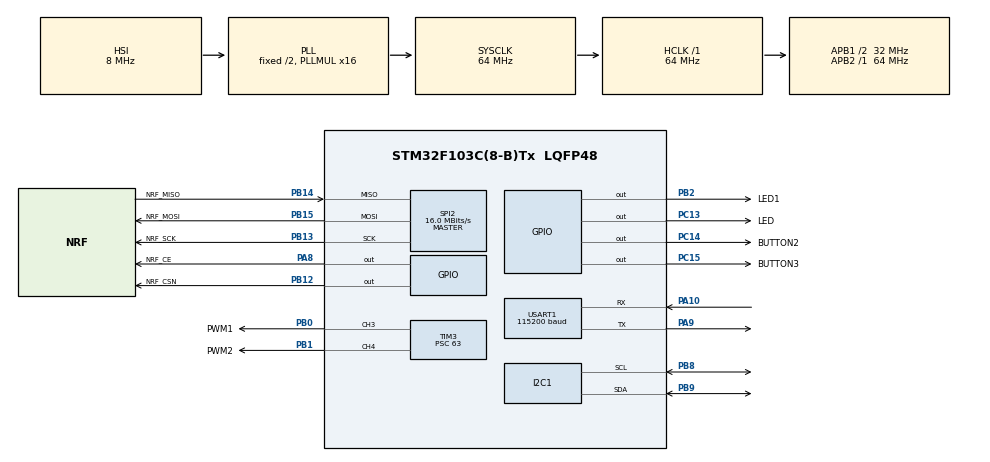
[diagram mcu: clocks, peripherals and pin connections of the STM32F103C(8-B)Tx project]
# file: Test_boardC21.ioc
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Dma.Request0=USART1_RX
Dma.USART1_RX.0.Direction=DMA_PERIPH_TO_MEMORY
Dma.USART1_RX.0.Instance=DMA1_Channel5
Dma.USART1_RX.0.MemDataAlignment=DMA_MDATAALIGN_BYTE
Dma.USART1_RX.0.MemInc=DMA_MINC_ENABLE
Dma.USART1_RX.0.Mode=DMA_NORMAL
Dma.USART1_RX.0.PeriphDataAlignment=DMA_PDATAALIGN_BYTE
Dma.USART1_RX.0.PeriphInc=DMA_PINC_DISABLE
Dma.USART1_RX.0.Priority=DMA_PRIORITY_LOW
Mcu.Family=STM32F1
Mcu.Name=STM32F103C(8-B)Tx
Mcu.Package=LQFP48
NVIC.DMA1_Channel5_IRQn=true\:0\:0\:false\:false\:true\:false\:true\:true
NVIC.PriorityGroup=NVIC_PRIORITYGROUP_4
NVIC.TIM4_IRQn=true\:2\:0\:true\:false\:true\:true\:true\:true
NVIC.USART1_IRQn=true\:1\:0\:true\:false\:true\:true\:true\:true
PA10.Mode=Asynchronous
PA10.Signal=USART1_RX
PA13.Mode=Serial_Wire
PA13.Signal=SYS_JTMS-SWDIO
PA14.Mode=Serial_Wire
PA14.Signal=SYS_JTCK-SWCLK
PA8.GPIO_Label=NRF_CE
PA8.Signal=GPIO_Output
PA9.Mode=Asynchronous
PA9.Signal=USART1_TX
PB0.GPIO_Label=PWM1
PB0.Signal=S_TIM3_CH3
PB1.GPIO_Label=PWM2
PB1.Signal=S_TIM3_CH4
PB12.GPIO_Label=NRF_CSN
PB12.Signal=GPIO_Output
PB13.GPIO_Label=NRF_SCK
PB13.Mode=Full_Duplex_Master
PB13.Signal=SPI2_SCK
PB14.GPIO_Label=NRF_MISO
PB14.Mode=Full_Duplex_Master
PB14.Signal=SPI2_MISO
PB15.GPIO_Label=NRF_MOSI
PB15.Mode=Full_Duplex_Master
PB15.Signal=SPI2_MOSI
PB2.GPIO_Label=LED1
PB2.Signal=GPIO_Output
PB8.Mode=I2C
PB8.Signal=I2C1_SCL
PB9.Mode=I2C
PB9.Signal=I2C1_SDA
PC13-TAMPER-RTC.GPIO_Label=LED
PC13-TAMPER-RTC.Signal=GPIO_Output
PC14-OSC32_IN.GPIO_Label=BUTTON2
PC14-OSC32_IN.Signal=GPIO_Output
PC15-OSC32_OUT.GPIO_Label=BUTTON3
PC15-OSC32_OUT.Signal=GPIO_Output
ProjectManager.HeapSize=0x200
ProjectManager.StackSize=0x400
ProjectManager.TargetToolchain=STM32CubeIDE
RCC.ADCPresc=RCC_ADCPCLK2_DIV6
RCC.AHBFreq_Value=64000000
RCC.APB1CLKDivider=RCC_HCLK_DIV2
RCC.APB1Freq_Value=32000000
RCC.APB1TimFreq_Value=64000000
RCC.APB2Freq_Value=64000000
RCC.APB2TimFreq_Value=64000000
RCC.HCLKFreq_Value=64000000
RCC.PLLMUL=RCC_PLL_MUL16
RCC.SYSCLKFreq_VALUE=64000000
RCC.SYSCLKSource=RCC_SYSCLKSOURCE_PLLCLK
RCC.USBFreq_Value=64000000
SH.S_TIM3_CH3.0=TIM3_CH3,PWM Generation3 CH3
SH.S_TIM3_CH4.0=TIM3_CH4,PWM Generation4 CH4
SPI2.CalculateBaudRate=16.0 MBits/s
SPI2.Direction=SPI_DIRECTION_2LINES
SPI2.Mode=SPI_MODE_MASTER
SPI2.VirtualType=VM_MASTER
TIM3.Channel-PWM\ Generation3\ CH3=TIM_CHANNEL_3
TIM3.Channel-PWM\ Generation4\ CH4=TIM_CHANNEL_4
TIM3.Period=20000
TIM3.Prescaler=63
TIM3.Pulse-PWM\ Generation3\ CH3=1035
TIM3.Pulse-PWM\ Generation4\ CH4=900
TIM4.AutoReloadPreload=TIM_AUTORELOAD_PRELOAD_ENABLE
TIM4.Period=999
TIM4.Prescaler=639
USART1.BaudRate=115200
USART1.VirtualMode=VM_ASYNC
VP_TIM4_VS_ClockSourceINT.Mode=Internal
board=custom

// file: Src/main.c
/* USER CODE BEGIN Header */
/**
 ******************************************************************************
 * @file           : main.c
 * @brief          : Main program body
 ******************************************************************************
 * @attention
 *
 * <h2><center>&copy; Copyright (c) 2023 STMicroelectronics.
 * All rights reserved.</center></h2>
 *
 * This software component is licensed by ST under BSD 3-Clause license,
 * the "License"; You may not use this file except in compliance with the
 * License. You may obtain a copy of the License at:
 *                        opensource.org/licenses/BSD-3-Clause
 *
 ******************************************************************************
 */
/* USER CODE END Header */

#include "main.h"

/* USER CODE BEGIN Includes */
#include "mpu9255.h"
#include <stdio.h>
#include "nrf24.h"
#include "pid.h"
#include "motor.h"
#include "frame_uart.h"
/* USER CODE END Includes */

/* USER CODE BEGIN PTD */
#if ((DEBUG_RX + DEBUG_MPU + DEBUG_PWM) > 1)
#error "Define only one DEMO_xx, use the '1' value"
#endif
/* USER CODE END PTD */

I2C_HandleTypeDef hi2c1;

SPI_HandleTypeDef hspi2;

TIM_HandleTypeDef htim3;
TIM_HandleTypeDef htim4;

UART_HandleTypeDef huart1;
DMA_HandleTypeDef hdma_usart1_rx;

/* USER CODE BEGIN PV */
MPU9255_t MPU9255;
uint32_t value[5];
extern NRF_Packet payload_packet;
PID_t pid;
uint32_t start_time = 0;
#if (TUNING)
volatile float Kp_angle_pitch = 0;
volatile float Ki_angle_pitch = 0;
volatile float Kd_angle_pitch = 0;

float Kp_angle_roll = 2.0;
float Ki_angle_roll = 0.0;
float Kd_angle_roll = 0.0;

float Kp_angle_yaw;
float Ki_angle_yaw;
float Kd_angle_yaw;

volatile float Kp_rate_pitch = 0; // 1.4;
volatile float Ki_rate_pitch = 0; // 0.5;
volatile float Kd_rate_pitch = 0; // 0.00;

float Kp_rate_roll = 0.5;
float Ki_rate_roll = 0.0;
float Kd_rate_roll = 0.02;

float Kp_rate_yaw;
float Ki_rate_yaw;
float Kd_rate_yaw;

float SERVO_RIGHT_OFFSET = 0; // Servo offset for right servo
float SERVO_LEFT_OFFSET = 0;  //
volatile float MOTOR_RIGHT_OFFSET = 0; //
volatile float MOTOR_LEFT_OFFSET = 0;  //

// qt_tune qt_data;
uint8_t f_trans[FRAME_DATA_TX];
uint8_t f_dest_trans[FRAME_DATA_TX_HANDLE];
uint16_t f_dest_len_t = 0;

uint8_t f_recei[FRAME_DATA_RX_HANDLE];
uint8_t f_dest_recei[FRAME_DATA_RX];
uint16_t f_dest_len_r = 0;
volatile float q_Roll_angle = 0;
#else

#endif
#if TUNING
typedef struct
{
	volatile float Kp_r;
	volatile  float Ki_r;
	volatile float Kd_r;

 volatile float Kp_p; //.2
 volatile float Ki_p;
 volatile float Kd_p;

//
//  float Kp_y; //.5
//  float Ki_y;
//  float Kd_y;
 volatile float off_motor_l;
 volatile float off_motor_r;
} tune_pid;

tune_pid pid_para;
#else

#endif

// absolute angle
float abs_yaw_angle = 0;

// PWM for ESC, Servo
int old_servo_right = 0;
int old_servo_left = 0;
uint16_t servo_right = 0;
uint16_t servo_left = 0;
uint16_t esc_right, esc_left;

// value from rc
uint16_t roll_rc, pitch_rc, yaw_rc, throttle_rc;
uint8_t data;
// float pitch;
// float yaw;
// float roll;
/* USER CODE END PV */

void SystemClock_Config(void);
static void MX_GPIO_Init(void);
static void MX_DMA_Init(void);
static void MX_I2C1_Init(void);
static void MX_SPI2_Init(void);
static void MX_TIM3_Init(void);
static void MX_USART1_UART_Init(void);
static void MX_TIM4_Init(void);
/* USER CODE BEGIN PFP */
int _write(int file, char *ptr, int len)
{
  HAL_UART_Transmit(&huart1, (uint8_t *)ptr, len, HAL_MAX_DELAY);
  return len;
}

//void receive_value( uint8_t *data, float *pid_para, uint8_t length)
//{
//  for (int i = 0; i < length; i += 4)
//  {
//    *(pid_para++) = (data[i] << 24) | (data[i + 1] << 16) | (data[i + 2] << 8) | data[i + 3];
//  }
//}
void receive_value(uint8_t *data_dest, uint8_t *data, uint8_t length)
{
    for(int i=0; i<length; i++)
        *data++ = *data_dest++;
}

int runRadio(void);
void RX_data(void);

/* USER CODE END PFP */

int main(void)
{

  /* MCU Configuration--------------------------------------------------------*/

  /* Reset of all peripherals, Initializes the Flash interface and the Systick. */
    HAL_Init();

  /* Configure the system clock */
  SystemClock_Config();

  /* Initialize all configured peripherals */
  MX_GPIO_Init();
  MX_DMA_Init();
  MX_I2C1_Init();
  MX_SPI2_Init();
  MX_TIM3_Init();
  MX_USART1_UART_Init();
  MX_TIM4_Init();
  /* USER CODE BEGIN 2 */
  HAL_TIM_PWM_Start(&htim3, TIM_CHANNEL_4);
  HAL_TIM_PWM_Start(&htim3, TIM_CHANNEL_3);
  HAL_UARTEx_ReceiveToIdle_DMA(&huart1, f_recei, FRAME_DATA_RX_HANDLE);
  __HAL_DMA_DISABLE_IT(&hdma_usart1_rx, DMA_IT_HT);
  runRadio();
  while (MPU9255_Init(&hi2c1) == 1)
  {
    HAL_GPIO_TogglePin(GPIOB, GPIO_PIN_2);
    HAL_Delay(100);
  }
  HAL_Delay(3000);
  while (payload_packet.throttle > 1050)
  {
    // Read again
    RX_data();
    HAL_Delay(20);
  }

  start_time = HAL_GetTick();
  while ((HAL_GetTick() - start_time) < 4000)
  {
    readAll(&hi2c1, &MPU9255);
  }
//  HAL_UARTEx_ReceiveToIdle_DMA(&huart1, f_recei, FRAME_DATA_RX_HANDLE);
//  __HAL_DMA_DISABLE_IT(&hdma_usart1_rx, DMA_IT_HT);
  HAL_TIM_Base_Start_IT(&htim4);

  /* USER CODE END 2 */

  /* Infinite loop */
  while (1)
  {

    /* USER CODE BEGIN 3 */

//    RX_data();
  }
  /* USER CODE END 3 */
}

void SystemClock_Config(void)
{
  RCC_OscInitTypeDef RCC_OscInitStruct = {0};
  RCC_ClkInitTypeDef RCC_ClkInitStruct = {0};

  /** Initializes the CPU, AHB and APB busses clocks
  */
  RCC_OscInitStruct.OscillatorType = RCC_OSCILLATORTYPE_HSI;
  RCC_OscInitStruct.HSIState = RCC_HSI_ON;
  RCC_OscInitStruct.HSICalibrationValue = RCC_HSICALIBRATION_DEFAULT;
  RCC_OscInitStruct.PLL.PLLState = RCC_PLL_ON;
  RCC_OscInitStruct.PLL.PLLSource = RCC_PLLSOURCE_HSI_DIV2;
  RCC_OscInitStruct.PLL.PLLMUL = RCC_PLL_MUL16;
  if (HAL_RCC_OscConfig(&RCC_OscInitStruct) != HAL_OK)
  {
    Error_Handler();
  }
  /** Initializes the CPU, AHB and APB busses clocks
  */
  RCC_ClkInitStruct.ClockType = RCC_CLOCKTYPE_HCLK|RCC_CLOCKTYPE_SYSCLK
                              |RCC_CLOCKTYPE_PCLK1|RCC_CLOCKTYPE_PCLK2;
  RCC_ClkInitStruct.SYSCLKSource = RCC_SYSCLKSOURCE_PLLCLK;
  RCC_ClkInitStruct.AHBCLKDivider = RCC_SYSCLK_DIV1;
  RCC_ClkInitStruct.APB1CLKDivider = RCC_HCLK_DIV2;
  RCC_ClkInitStruct.APB2CLKDivider = RCC_HCLK_DIV1;

  if (HAL_RCC_ClockConfig(&RCC_ClkInitStruct, FLASH_LATENCY_2) != HAL_OK)
  {
    Error_Handler();
  }
}

static void MX_I2C1_Init(void)
{

  hi2c1.Instance = I2C1;
  hi2c1.Init.ClockSpeed = 100000;
  hi2c1.Init.DutyCycle = I2C_DUTYCYCLE_2;
  hi2c1.Init.OwnAddress1 = 0;
  hi2c1.Init.AddressingMode = I2C_ADDRESSINGMODE_7BIT;
  hi2c1.Init.DualAddressMode = I2C_DUALADDRESS_DISABLE;
  hi2c1.Init.OwnAddress2 = 0;
  hi2c1.Init.GeneralCallMode = I2C_GENERALCALL_DISABLE;
  hi2c1.Init.NoStretchMode = I2C_NOSTRETCH_DISABLE;
  if (HAL_I2C_Init(&hi2c1) != HAL_OK)
  {
    Error_Handler();
  }

}

static void MX_SPI2_Init(void)
{

  /* SPI2 parameter configuration*/
  hspi2.Instance = SPI2;
  hspi2.Init.Mode = SPI_MODE_MASTER;
  hspi2.Init.Direction = SPI_DIRECTION_2LINES;
  hspi2.Init.DataSize = SPI_DATASIZE_8BIT;
  hspi2.Init.CLKPolarity = SPI_POLARITY_LOW;
  hspi2.Init.CLKPhase = SPI_PHASE_1EDGE;
  hspi2.Init.NSS = SPI_NSS_SOFT;
  hspi2.Init.BaudRatePrescaler = SPI_BAUDRATEPRESCALER_2;
  hspi2.Init.FirstBit = SPI_FIRSTBIT_MSB;
  hspi2.Init.TIMode = SPI_TIMODE_DISABLE;
  hspi2.Init.CRCCalculation = SPI_CRCCALCULATION_DISABLE;
  hspi2.Init.CRCPolynomial = 10;
  if (HAL_SPI_Init(&hspi2) != HAL_OK)
  {
    Error_Handler();
  }

}

static void MX_TIM3_Init(void)
{

  TIM_MasterConfigTypeDef sMasterConfig = {0};
  TIM_OC_InitTypeDef sConfigOC = {0};

  htim3.Instance = TIM3;
  htim3.Init.Prescaler = 63;
  htim3.Init.CounterMode = TIM_COUNTERMODE_UP;
  htim3.Init.Period = 20000;
  htim3.Init.ClockDivision = TIM_CLOCKDIVISION_DIV1;
  htim3.Init.AutoReloadPreload = TIM_AUTORELOAD_PRELOAD_DISABLE;
  if (HAL_TIM_PWM_Init(&htim3) != HAL_OK)
  {
    Error_Handler();
  }
  sMasterConfig.MasterOutputTrigger = TIM_TRGO_RESET;
  sMasterConfig.MasterSlaveMode = TIM_MASTERSLAVEMODE_DISABLE;
  if (HAL_TIMEx_MasterConfigSynchronization(&htim3, &sMasterConfig) != HAL_OK)
  {
    Error_Handler();
  }
  sConfigOC.OCMode = TIM_OCMODE_PWM1;
  sConfigOC.Pulse = 1000;
  sConfigOC.OCPolarity = TIM_OCPOLARITY_HIGH;
  sConfigOC.OCFastMode = TIM_OCFAST_DISABLE;
  if (HAL_TIM_PWM_ConfigChannel(&htim3, &sConfigOC, TIM_CHANNEL_3) != HAL_OK)
  {
    Error_Handler();
  }
  sConfigOC.Pulse = 910;
  if (HAL_TIM_PWM_ConfigChannel(&htim3, &sConfigOC, TIM_CHANNEL_4) != HAL_OK)
  {
    Error_Handler();
  }
  HAL_TIM_MspPostInit(&htim3);

}

static void MX_TIM4_Init(void)
{

  TIM_ClockConfigTypeDef sClockSourceConfig = {0};
  TIM_MasterConfigTypeDef sMasterConfig = {0};

  htim4.Instance = TIM4;
  htim4.Init.Prescaler = 639;
  htim4.Init.CounterMode = TIM_COUNTERMODE_UP;
  htim4.Init.Period = 999;
  htim4.Init.ClockDivision = TIM_CLOCKDIVISION_DIV1;
  htim4.Init.AutoReloadPreload = TIM_AUTORELOAD_PRELOAD_ENABLE;
  if (HAL_TIM_Base_Init(&htim4) != HAL_OK)
  {
    Error_Handler();
  }
  sClockSourceConfig.ClockSource = TIM_CLOCKSOURCE_INTERNAL;
  if (HAL_TIM_ConfigClockSource(&htim4, &sClockSourceConfig) != HAL_OK)
  {
    Error_Handler();
  }
  sMasterConfig.MasterOutputTrigger = TIM_TRGO_RESET;
  sMasterConfig.MasterSlaveMode = TIM_MASTERSLAVEMODE_DISABLE;
  if (HAL_TIMEx_MasterConfigSynchronization(&htim4, &sMasterConfig) != HAL_OK)
  {
    Error_Handler();
  }

}

static void MX_USART1_UART_Init(void)
{

  huart1.Instance = USART1;
  huart1.Init.BaudRate = 115200;
  huart1.Init.WordLength = UART_WORDLENGTH_8B;
  huart1.Init.StopBits = UART_STOPBITS_1;
  huart1.Init.Parity = UART_PARITY_NONE;
  huart1.Init.Mode = UART_MODE_TX_RX;
  huart1.Init.HwFlowCtl = UART_HWCONTROL_NONE;
  huart1.Init.OverSampling = UART_OVERSAMPLING_16;
  if (HAL_UART_Init(&huart1) != HAL_OK)
  {
    Error_Handler();
  }

}

static void MX_DMA_Init(void)
{

  /* DMA controller clock enable */
  __HAL_RCC_DMA1_CLK_ENABLE();

  /* DMA interrupt init */
  /* DMA1_Channel5_IRQn interrupt configuration */
  HAL_NVIC_SetPriority(DMA1_Channel5_IRQn, 0, 0);
  HAL_NVIC_EnableIRQ(DMA1_Channel5_IRQn);

}

static void MX_GPIO_Init(void)
{
  GPIO_InitTypeDef GPIO_InitStruct = {0};

  /* GPIO Ports Clock Enable */
  __HAL_RCC_GPIOC_CLK_ENABLE();
  __HAL_RCC_GPIOB_CLK_ENABLE();
  __HAL_RCC_GPIOA_CLK_ENABLE();

  /*Configure GPIO pin Output Level */
  HAL_GPIO_WritePin(GPIOC, LED_Pin|BUTTON2_Pin|BUTTON3_Pin, GPIO_PIN_RESET);

  /*Configure GPIO pin Output Level */
  HAL_GPIO_WritePin(GPIOB, LED1_Pin|NRF_CSN_Pin, GPIO_PIN_RESET);

  /*Configure GPIO pin Output Level */
  HAL_GPIO_WritePin(NRF_CE_GPIO_Port, NRF_CE_Pin, GPIO_PIN_RESET);

  /*Configure GPIO pins : LED_Pin BUTTON2_Pin BUTTON3_Pin */
  GPIO_InitStruct.Pin = LED_Pin|BUTTON2_Pin|BUTTON3_Pin;
  GPIO_InitStruct.Mode = GPIO_MODE_OUTPUT_PP;
  GPIO_InitStruct.Pull = GPIO_NOPULL;
  GPIO_InitStruct.Speed = GPIO_SPEED_FREQ_LOW;
  HAL_GPIO_Init(GPIOC, &GPIO_InitStruct);

  /*Configure GPIO pins : LED1_Pin NRF_CSN_Pin */
  GPIO_InitStruct.Pin = LED1_Pin|NRF_CSN_Pin;
  GPIO_InitStruct.Mode = GPIO_MODE_OUTPUT_PP;
  GPIO_InitStruct.Pull = GPIO_NOPULL;
  GPIO_InitStruct.Speed = GPIO_SPEED_FREQ_LOW;
  HAL_GPIO_Init(GPIOB, &GPIO_InitStruct);

  /*Configure GPIO pin : NRF_CE_Pin */
  GPIO_InitStruct.Pin = NRF_CE_Pin;
  GPIO_InitStruct.Mode = GPIO_MODE_OUTPUT_PP;
  GPIO_InitStruct.Pull = GPIO_NOPULL;
  GPIO_InitStruct.Speed = GPIO_SPEED_FREQ_LOW;
  HAL_GPIO_Init(NRF_CE_GPIO_Port, &GPIO_InitStruct);

}

/* USER CODE BEGIN 4 */
void HAL_TIM_PeriodElapsedCallback(TIM_HandleTypeDef *htim)
{
  uint32_t start = HAL_GetTick();

  if (htim->Instance == htim4.Instance)
  {
	  RX_data();
    readAll(&hi2c1, &MPU9255);
    abs_yaw_angle = abs_yaw_angle + MPU9255.GyroZ * dt;

 //   pid_roll(payload_packet.roll, MPU9255.roll, MPU9255.GyroX, &pid);
    pid_pitch(payload_packet.pitch, MPU9255.pitch, MPU9255.GyroY, &pid);

    // value PWM
    calculate_motor_output(&esc_right, &esc_left, &servo_right, &servo_left, payload_packet.throttle, &pid);

    // htim3.Instance->CCR1 = servo_right;
    // htim3.Instance->CCR2 = servo_left;
    htim3.Instance->CCR3 = esc_right; // trang
    htim3.Instance->CCR4 = esc_left;  // vang

    // send to GUI
       q_Roll_angle = MPU9255.pitch + 2000 ;
    //q_Roll_angle = MPU9255.GyroY+ 2000 ;

    sprintf((char *)f_trans, "%d%d", (uint16_t)2000 , (uint16_t)q_Roll_angle);
    SendFrameData(f_trans, FRAME_DATA_TX, f_dest_trans, &f_dest_len_t);
    HAL_UART_Transmit(&huart1, f_dest_trans, f_dest_len_t, 1000);
  }
  uint32_t time = HAL_GetTick() - start;
}
void HAL_UARTEx_RxEventCallback(UART_HandleTypeDef *huart, uint16_t Size)
{
  HAL_UARTEx_ReceiveToIdle_DMA(&huart1, f_recei, FRAME_DATA_RX_HANDLE);
  __HAL_DMA_DISABLE_IT(&hdma_usart1_rx, DMA_IT_HT);
  receive_value(f_recei,(uint8_t*)&pid_para, Size);
  Kp_rate_pitch = pid_para.Kp_p;
  Ki_rate_pitch = pid_para.Ki_p;
  Kd_rate_pitch = pid_para.Kd_p;

  Kp_angle_pitch = pid_para.Kp_r;
  Ki_angle_pitch = pid_para.Ki_r;
  Kd_angle_pitch = pid_para.Kd_r;

  MOTOR_LEFT_OFFSET = pid_para.off_motor_l;
  MOTOR_RIGHT_OFFSET = pid_para.off_motor_r;
//  f_dest_len_r = Size;
}

/* USER CODE END 4 */

void Error_Handler(void)
{
}

/************************ (C) COPYRIGHT STMicroelectronics *****END OF FILE****/
